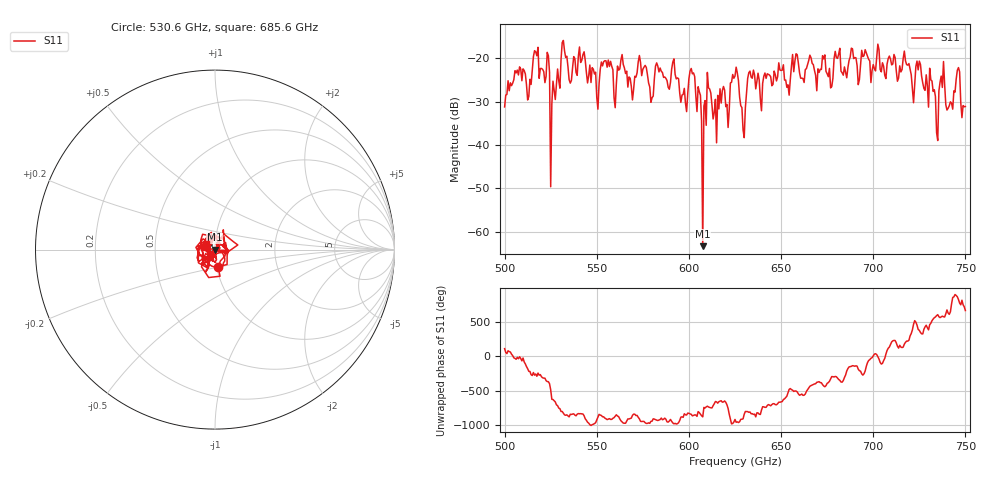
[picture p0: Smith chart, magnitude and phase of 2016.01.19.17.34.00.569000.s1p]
!Created with skrf (http://scikit-rf.org).
# GHz S RI R 50.0
!freq ReS11 ImS11
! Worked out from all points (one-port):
!   401 points, 500 GHz to 750 GHz, reference 50 ohm
!   lowest |S11| = -63.3 dB at 607.5 GHz (marker M1), VSWR 1.00, Z = 49.9 - j0.0266 ohm
!   |S11| at or under -10 dB: start of sweep to end of sweep
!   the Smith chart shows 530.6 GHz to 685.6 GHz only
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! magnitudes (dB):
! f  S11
! 500 GHz  -31.2
! 506.9 GHz  -22.8
! 513.1 GHz  -28.8
! 516.9 GHz  -18.6
! 523.1 GHz  -18.7
! 526.2 GHz  -25.3
! 531.2 GHz  -16.4
! 550 GHz  -29.0
! 562.5 GHz  -22.5
! 579.4 GHz  -30.2
! 593.8 GHz  -24.6
! 598.1 GHz  -30.3
! 601.9 GHz  -23.6
! 607.5 GHz  -63.3
! 611.2 GHz  -27.1
! 613.8 GHz  -32.5
! 625 GHz  -24.1
! 629.4 GHz  -36.5
! 633.8 GHz  -24.4
! 656.2 GHz  -19.2
! 687.5 GHz  -19.8
! 718.8 GHz  -21.6
! 731.9 GHz  -25.3
! 733.8 GHz  -28.9
! 736.9 GHz  -24.1
! 740.6 GHz  -31.6
! 745.6 GHz  -22.8
! 750 GHz  -31.1
